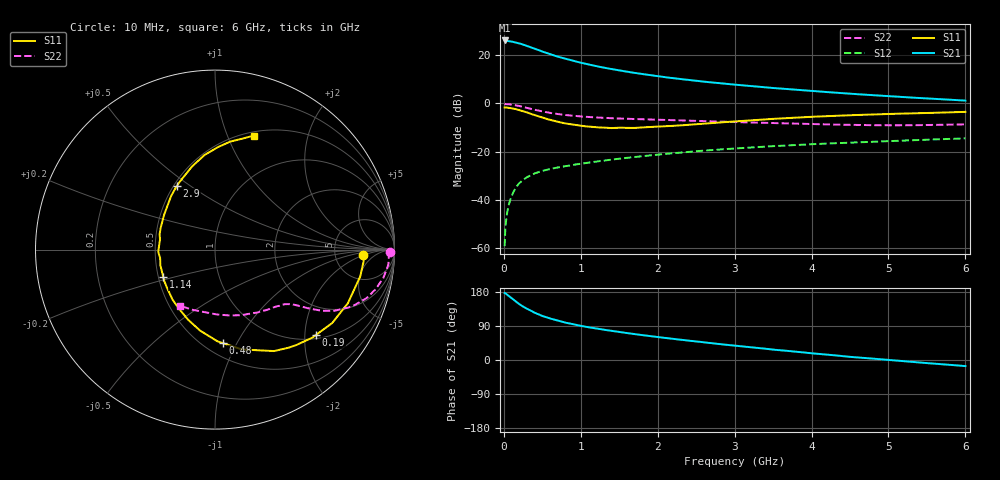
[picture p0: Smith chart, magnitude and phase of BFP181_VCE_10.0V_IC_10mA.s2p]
! Infineon Technologies  Discrete & RF Semiconductors
! BFP181
! VCE = 10.0V,  IC =  10 mA
! Common Emitter S-Parameters:  Jan 2016
# GHz  S  MA  R  50
!  f  S11  S21  S12  S22
! GHz  MAG  ANG  MAG  ANG  MAG  ANG  MAG  ANG
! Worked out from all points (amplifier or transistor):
!   210 points, 10 MHz to 6 GHz, reference 50 ohm
!   highest |S21| = 26.1 dB at 10 MHz (marker M1)
!   |S21| within 3 dB of that: start of sweep to 364.5 MHz
!   unconditionally stable (mu >= 1): 1.385 GHz to end of sweep
!   at 185 MHz: K = 0.25, MSG = 29.4 dB, |S12| = -33.6 dB
!   at 1.52 GHz: K = 1.02, MAG = 17.3 dB, |S12| = -22.8 dB
!   at 6 GHz: K = 1.05, MAG = 6.5 dB, |S12| = -14.5 dB
!   S11 on the Smith chart (normalised r, x): 10 MHz: 10, -2; 190 MHz: 1.10, -2.28; 480 MHz: 0.61, -0.88; 1.14 GHz: 0.53, -0.18; 2.9 GHz: 0.52, +0.45; 6 GHz: 0.54, +1.25
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0.01  0.8259 -2.1  20.29 176.8  0.0011 61.4  0.9752 -0.7
0.02  0.831 -4.4  20.07 176.0  0.0026 87.3  0.9697 -1.8
0.04  0.8244 -8.5  19.92 172.7  0.0051 85.4  0.9694 -3.9
0.1  0.7983 -22.0  19.3 163.0  0.0119 75.5  0.951 -9.6
0.15  0.7705 -32.1  18.52 154.9  0.0175 70.9  0.9213 -13.9
0.19  0.7368 -40.1  17.87 149.1  0.0213 69.1  0.8938 -16.9
0.24  0.6988 -49.5  16.86 142.2  0.0252 65.3  0.8554 -20.2
0.3  0.6541 -59.8  15.69 135.3  0.0296 61.2  0.8103 -23.5
0.4  0.5763 -74.9  13.72 124.7  0.0355 57.1  0.7425 -27.4
0.48  0.522 -85.4  12.29 118.1  0.0392 53.8  0.6964 -29.3
0.6  0.4587 -100.5  10.62 109.5  0.0438 52.0  0.6385 -31.4
0.7  0.4187 -110.9  9.375 103.8  0.0471 50.2  0.6039 -32.5
0.8  0.3862 -121.1  8.487 98.7  0.0503 49.4  0.5771 -33.3
1.02  0.3418 -141.4  6.894 89.5  0.0567 48.3  0.5357 -34.9
1.14  0.3268 -151.8  6.268 85.2  0.0607 47.9  0.5199 -35.8
1.5  0.3166 -177.8  4.86 73.8  0.0718 47.0  0.4877 -38.7
2.02  0.3314 152.9  3.639 60.1  0.0873 45.0  0.4591 -44.5
2.9  0.414 120.6  2.548 40.0  0.1137 39.2  0.4179 -57.3
3.1  0.4345 115.0  2.384 36.0  0.1193 37.8  0.4083 -60.6
4.1  0.5374 94.7  1.775 16.0  0.1455 29.9  0.3716 -79.8
5.1  0.6128 80.8  1.388 -1.4  0.1681 22.6  0.3531 -101.6
6  0.6707 71.2  1.149 -16.1  0.189 15.8  0.3686 -121.9
